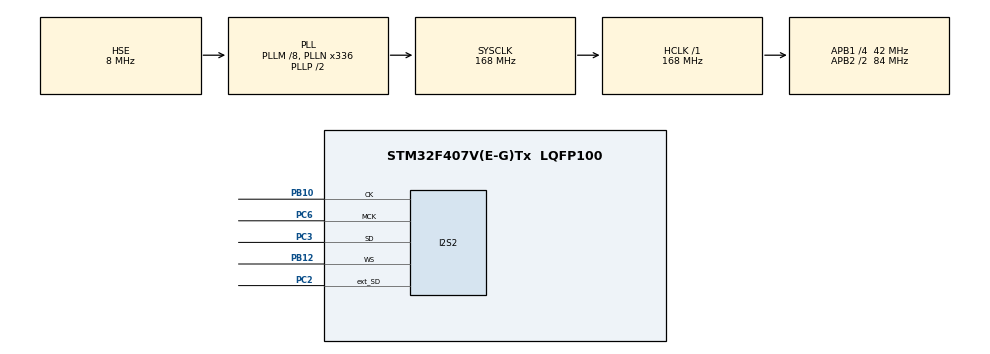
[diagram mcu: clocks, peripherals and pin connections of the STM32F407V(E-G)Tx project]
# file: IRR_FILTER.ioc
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Dma.I2S2_EXT_RX.0.Direction=DMA_PERIPH_TO_MEMORY
Dma.I2S2_EXT_RX.0.FIFOMode=DMA_FIFOMODE_DISABLE
Dma.I2S2_EXT_RX.0.Instance=DMA1_Stream3
Dma.I2S2_EXT_RX.0.MemDataAlignment=DMA_MDATAALIGN_BYTE
Dma.I2S2_EXT_RX.0.MemInc=DMA_MINC_ENABLE
Dma.I2S2_EXT_RX.0.Mode=DMA_CIRCULAR
Dma.I2S2_EXT_RX.0.PeriphDataAlignment=DMA_PDATAALIGN_BYTE
Dma.I2S2_EXT_RX.0.PeriphInc=DMA_PINC_DISABLE
Dma.I2S2_EXT_RX.0.Priority=DMA_PRIORITY_HIGH
Dma.Request0=I2S2_EXT_RX
Dma.Request1=SPI2_TX
Dma.SPI2_TX.1.Direction=DMA_MEMORY_TO_PERIPH
Dma.SPI2_TX.1.FIFOMode=DMA_FIFOMODE_DISABLE
Dma.SPI2_TX.1.Instance=DMA1_Stream4
Dma.SPI2_TX.1.MemDataAlignment=DMA_MDATAALIGN_BYTE
Dma.SPI2_TX.1.MemInc=DMA_MINC_ENABLE
Dma.SPI2_TX.1.Mode=DMA_CIRCULAR
Dma.SPI2_TX.1.PeriphDataAlignment=DMA_PDATAALIGN_BYTE
Dma.SPI2_TX.1.PeriphInc=DMA_PINC_DISABLE
Dma.SPI2_TX.1.Priority=DMA_PRIORITY_HIGH
I2S2.AudioFreq=I2S_AUDIOFREQ_96K
I2S2.DataFormat=I2S_DATAFORMAT_24B
I2S2.ErrorAudioFreq=-2.34 %
I2S2.FullDuplexMode=I2S_FULLDUPLEXMODE_ENABLE
I2S2.Instance=SPI$Index
I2S2.RealAudioFreq=93.75 KHz
I2S2.VirtualMode=I2S_MODE_MASTER
Mcu.Family=STM32F4
Mcu.Name=STM32F407V(E-G)Tx
Mcu.Package=LQFP100
NVIC.DMA1_Stream3_IRQn=true\:0\:0\:false\:false\:true\:false\:true
NVIC.DMA1_Stream4_IRQn=true\:0\:0\:false\:false\:true\:false\:true
NVIC.PriorityGroup=NVIC_PRIORITYGROUP_0
NVIC.TIM8_TRG_COM_TIM14_IRQn=true\:0\:0\:false\:false\:true\:false\:true
NVIC.TimeBase=TIM8_TRG_COM_TIM14_IRQn
NVIC.TimeBaseIP=TIM14
PB10.Mode=Full_Duplex_Master
PB10.Signal=I2S2_CK
PB12.Mode=Full_Duplex_Master
PB12.Signal=I2S2_WS
PC14-OSC32_IN.Mode=LSE-External-Oscillator
PC14-OSC32_IN.Signal=RCC_OSC32_IN
PC15-OSC32_OUT.Mode=LSE-External-Oscillator
PC15-OSC32_OUT.Signal=RCC_OSC32_OUT
PC2.Mode=Full_Duplex_Master
PC2.Signal=I2S2_ext_SD
PC3.Mode=Full_Duplex_Master
PC3.Signal=I2S2_SD
PC6.Mode=Master_Clock_Activated
PC6.Signal=I2S2_MCK
PH0-OSC_IN.Mode=HSE-External-Oscillator
PH0-OSC_IN.Signal=RCC_OSC_IN
PH1-OSC_OUT.Mode=HSE-External-Oscillator
PH1-OSC_OUT.Signal=RCC_OSC_OUT
ProjectManager.HeapSize=0x200
ProjectManager.StackSize=0x400
ProjectManager.TargetToolchain=STM32CubeIDE
RCC.48MHZClocksFreq_Value=48000000
RCC.AHBFreq_Value=168000000
RCC.APB1CLKDivider=RCC_HCLK_DIV4
RCC.APB1Freq_Value=42000000
RCC.APB1TimFreq_Value=84000000
RCC.APB2CLKDivider=RCC_HCLK_DIV2
RCC.APB2Freq_Value=84000000
RCC.APB2TimFreq_Value=168000000
RCC.CortexFreq_Value=168000000
RCC.HCLKFreq_Value=168000000
RCC.HSE_VALUE=8000000
RCC.HSI_VALUE=16000000
RCC.PLLM=8
RCC.PLLN=336
RCC.PLLQ=7
RCC.PLLSourceVirtual=RCC_PLLSOURCE_HSE
RCC.SYSCLKFreq_VALUE=168000000
RCC.SYSCLKSource=RCC_SYSCLKSOURCE_PLLCLK
RCC.VCOOutputFreq_Value=336000000
VP_SYS_VS_tim14.Mode=TIM14
board=STM32F407G-DISC1

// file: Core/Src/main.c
/* USER CODE BEGIN Header */
/**
  ******************************************************************************
  * @file           : main.c
  * @brief          : Main program body
  ******************************************************************************
  * @attention
  *
  * <h2><center>&copy; Copyright (c) 2023 STMicroelectronics.
  * All rights reserved.</center></h2>
  *
  * This software component is licensed by ST under BSD 3-Clause license,
  * the "License"; You may not use this file except in compliance with the
  * License. You may obtain a copy of the License at:
  *                        opensource.org/licenses/BSD-3-Clause
  *
  ******************************************************************************
  */
/* USER CODE END Header */
#include "main.h"

I2S_HandleTypeDef hi2s2;
DMA_HandleTypeDef hdma_i2s2_ext_rx;
DMA_HandleTypeDef hdma_spi2_tx;

void SystemClock_Config(void);
static void MX_GPIO_Init(void);
static void MX_DMA_Init(void);
static void MX_I2S2_Init(void);

/* USER CODE BEGIN 0 */
float l_a0, l_a1, l_a2, l_b1, l_b2, lin_z1, lin_z2, lout_z1, lout_z2;
float r_a0, r_a1, r_a2, r_b1, r_b2, rin_z1, rin_z2, rout_z1, rout_z2;
uint16_t rxBuf[8];
uint16_t txBuf[8];
/* USER CODE END 0 */

int main(void)
{
  /* USER CODE BEGIN 1 */
HAL_I2SEx_TransmitReceive_DMA(&hi2s2, txBuf, rxBuf, 4);

//left-channel, High-Pass, 1kHz, fs=96kHz, q=0.7
l_a0 = 0.9543457485325094f;
l_a1 = -1.9086914970650188f;
l_a2 = 0.9543457485325094f;
l_b1 = -1.9066459797557103f;
l_b2 = 0.9107370143743273f;

//right-channel, Low-Pass, 1kHz, fs)96 kHz, q=0.7
r_a0 = 0.0010227586546542474f;
r_a1 = 0.002045517309308495f;
r_a2 = 0.0010227586546542474f;
r_b1 = -1.9066459797557103f;
r_b2 = 0.9107370143743273f;

  /* USER CODE END 1 */

  /* MCU Configuration--------------------------------------------------------*/

  /* Reset of all peripherals, Initializes the Flash interface and the Systick. */
  HAL_Init();

  /* Configure the system clock */
  SystemClock_Config();

  /* Initialize all configured peripherals */
  MX_GPIO_Init();
  MX_DMA_Init();
  MX_I2S2_Init();

  /* Infinite loop */
  while (1)
  {

  }
}

void SystemClock_Config(void)
{
  RCC_OscInitTypeDef RCC_OscInitStruct = {0};
  RCC_ClkInitTypeDef RCC_ClkInitStruct = {0};

  /** Configure the main internal regulator output voltage
  */
  __HAL_RCC_PWR_CLK_ENABLE();
  __HAL_PWR_VOLTAGESCALING_CONFIG(PWR_REGULATOR_VOLTAGE_SCALE1);
  /** Initializes the RCC Oscillators according to the specified parameters
  * in the RCC_OscInitTypeDef structure.
  */
  RCC_OscInitStruct.OscillatorType = RCC_OSCILLATORTYPE_HSE;
  RCC_OscInitStruct.HSEState = RCC_HSE_ON;
  RCC_OscInitStruct.PLL.PLLState = RCC_PLL_ON;
  RCC_OscInitStruct.PLL.PLLSource = RCC_PLLSOURCE_HSE;
  RCC_OscInitStruct.PLL.PLLM = 8;
  RCC_OscInitStruct.PLL.PLLN = 336;
  RCC_OscInitStruct.PLL.PLLP = RCC_PLLP_DIV2;
  RCC_OscInitStruct.PLL.PLLQ = 7;
  if (HAL_RCC_OscConfig(&RCC_OscInitStruct) != HAL_OK)
  {
    Error_Handler();
  }
  /** Initializes the CPU, AHB and APB buses clocks
  */
  RCC_ClkInitStruct.ClockType = RCC_CLOCKTYPE_HCLK|RCC_CLOCKTYPE_SYSCLK
                              |RCC_CLOCKTYPE_PCLK1|RCC_CLOCKTYPE_PCLK2;
  RCC_ClkInitStruct.SYSCLKSource = RCC_SYSCLKSOURCE_PLLCLK;
  RCC_ClkInitStruct.AHBCLKDivider = RCC_SYSCLK_DIV1;
  RCC_ClkInitStruct.APB1CLKDivider = RCC_HCLK_DIV4;
  RCC_ClkInitStruct.APB2CLKDivider = RCC_HCLK_DIV2;

  if (HAL_RCC_ClockConfig(&RCC_ClkInitStruct, FLASH_LATENCY_5) != HAL_OK)
  {
    Error_Handler();
  }
}

static void MX_I2S2_Init(void)
{

  hi2s2.Instance = SPI2;
  hi2s2.Init.Mode = I2S_MODE_MASTER_TX;
  hi2s2.Init.Standard = I2S_STANDARD_PHILIPS;
  hi2s2.Init.DataFormat = I2S_DATAFORMAT_24B;
  hi2s2.Init.MCLKOutput = I2S_MCLKOUTPUT_ENABLE;
  hi2s2.Init.AudioFreq = I2S_AUDIOFREQ_96K;
  hi2s2.Init.CPOL = I2S_CPOL_LOW;
  hi2s2.Init.ClockSource = I2S_CLOCK_PLL;
  hi2s2.Init.FullDuplexMode = I2S_FULLDUPLEXMODE_ENABLE;
  if (HAL_I2S_Init(&hi2s2) != HAL_OK)
  {
    Error_Handler();
  }

}

static void MX_DMA_Init(void)
{

  /* DMA controller clock enable */
  __HAL_RCC_DMA1_CLK_ENABLE();

  /* DMA interrupt init */
  /* DMA1_Stream3_IRQn interrupt configuration */
  HAL_NVIC_SetPriority(DMA1_Stream3_IRQn, 0, 0);
  HAL_NVIC_EnableIRQ(DMA1_Stream3_IRQn);
  /* DMA1_Stream4_IRQn interrupt configuration */
  HAL_NVIC_SetPriority(DMA1_Stream4_IRQn, 0, 0);
  HAL_NVIC_EnableIRQ(DMA1_Stream4_IRQn);

}

static void MX_GPIO_Init(void)
{

  /* GPIO Ports Clock Enable */
  __HAL_RCC_GPIOC_CLK_ENABLE();
  __HAL_RCC_GPIOH_CLK_ENABLE();
  __HAL_RCC_GPIOB_CLK_ENABLE();

}

/* USER CODE BEGIN 4 */
int Calc_IIR_Left (int inSample) {
	float inSampleF = (float)inSample;
	float outSampleF =
			l_a0 * inSampleF
			+ l_a1 * lin_z1
			+ l_a2 * lin_z2
			- l_b1 * lout_z1
			- l_b2 * lout_z2;
	lin_z2 = lin_z1;
	lin_z1 = inSampleF;
	lout_z2 = lout_z1;
	lout_z1 = outSampleF;

	return (int) outSampleF;
}

int Calc_IIR_Right (int inSample) {
	float inSampleF = (float)inSample;
	float outSampleF =
			r_a0 * inSampleF
			+ r_a1 * rin_z1
			+ r_a2 * rin_z2
			- r_b1 * rout_z1
			- r_b2 * rout_z2;
	rin_z2 = rin_z1;
	rin_z1 = inSampleF;
	rout_z2 = rout_z1;
	rout_z1 = outSampleF;

	return (int) outSampleF;
}

void HAL_I2SEx_TxRxHalfCpltCallback(I2S_HandleTypeDef *hi2s){

	//restore signed 24 bit sample from 16-bit buffers
	int lSample = (int) (rxBuf[0]<<16)|rxBuf[1];
	int rSample = (int) (rxBuf[2]<<16)|rxBuf[3];

	// divide by 2 (rightshift) -> -3dB per sample
	lSample = lSample>>1;
	rSample = rSample>>1;

	//sum to mono
	lSample = rSample + lSample;
	rSample = lSample;

	//run HP on left channel and LP on right channel
	lSample = Calc_IIR_Left(lSample);
	rSample = Calc_IIR_Right(rSample);

	//restore to buffer
	txBuf[0] = (lSample>>16)&0xFFFF;
	txBuf[1] = lSample&0xFFFF;
	txBuf[2] = (rSample>>16)&0xFFFF;
	txBuf[3] = rSample&0xFFFF;
}

void HAL_I2SEx_TxRxCpltCallback(I2S_HandleTypeDef *hi2s){

	//restore signed 24 bit sample from 16-bit buffers
	int lSample = (int) (rxBuf[4]<<16)|rxBuf[5];
	int rSample = (int) (rxBuf[6]<<16)|rxBuf[7];

	// divide by 2 (rightshift) -> -3dB per sample
	lSample = lSample>>1;
	rSample = rSample>>1;

	//sum to mono
	lSample = rSample + lSample;
	rSample = lSample;

	//run HP on left channel and LP on right channel
	lSample = Calc_IIR_Left(lSample);
	rSample = Calc_IIR_Right(rSample);

	//restore to buffer
	txBuf[4] = (lSample>>16)&0xFFFF;
	txBuf[5] = lSample&0xFFFF;
	txBuf[6] = (rSample>>16)&0xFFFF;
	txBuf[7] = rSample&0xFFFF;
}
/* USER CODE END 4 */

void HAL_TIM_PeriodElapsedCallback(TIM_HandleTypeDef *htim)
{
  if (htim->Instance == TIM14) {
    HAL_IncTick();
  }
}

void Error_Handler(void)
{
  __disable_irq();
  while (1)
  {
  }
}

/************************ (C) COPYRIGHT STMicroelectronics *****END OF FILE****/
